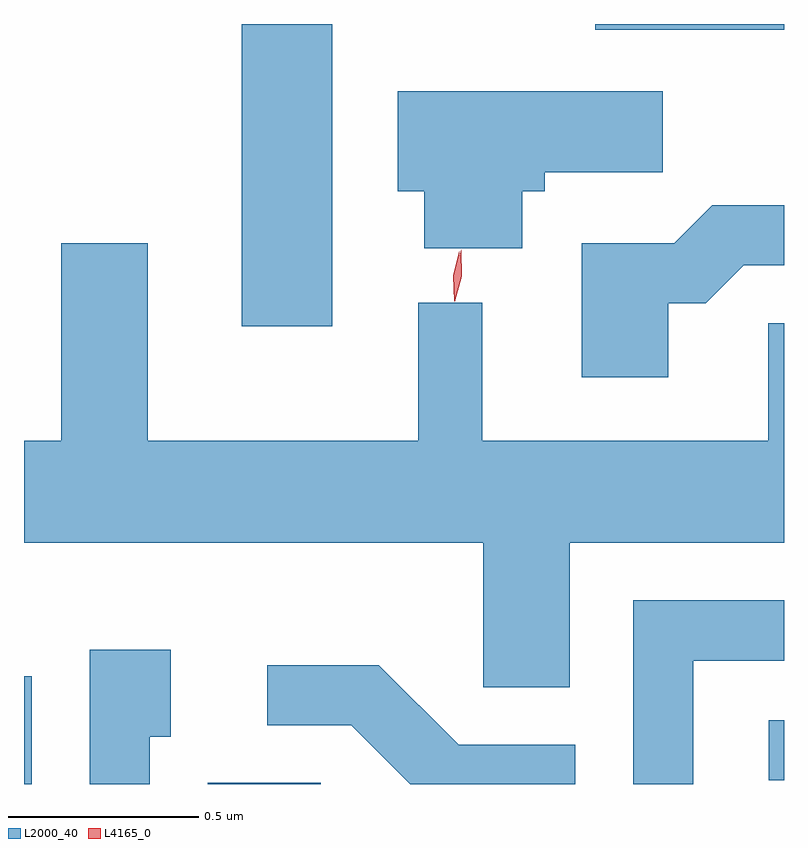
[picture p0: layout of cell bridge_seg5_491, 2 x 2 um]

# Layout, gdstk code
import gdstk
lib = gdstk.Library(unit=1e-6, precision=1e-09)
def R(c, l, rs):  # rectangles x0, y0, x1, y1
    for r in rs: c.add(gdstk.rectangle(r[:2], r[2:], *l))
def P(c, l, *ps):  # polygons
    for p in ps: c.add(gdstk.Polygon(p, *l))
L2000_40 = (2000, 40)
L4165_0 = (4165, 0)

bridge_seg5_491 = lib.new_cell('bridge_seg5_491')
R(bridge_seg5_491, L2000_40, [(546.203,1445.061,546.224,1445.344), (546.686,1445.061,546.984,1445.064), (548.163,1445.071,548.203,1445.229), (546.776,1446.266,547.014,1447.061), (547.706,1447.046,548.203,1447.061)])
P(bridge_seg5_491, L2000_40, [(547.514,1446.621),(547.574,1446.621),(547.574,1446.671),(547.884,1446.671),(547.884,1446.884),(547.186,1446.884),(547.186,1446.621),(547.256,1446.621),(547.256,1446.471),(547.514,1446.471)],
  [(547.899,1446.326),(547.997,1446.326),(548.097,1446.426),(548.203,1446.426),(548.203,1446.584),(548.014,1446.584),(547.914,1446.484),(547.671,1446.484),(547.671,1446.131),(547.899,1446.131)],
  [(547.411,1445.316),(547.639,1445.316),(547.639,1445.696),(548.203,1445.696),(548.203,1446.274),(548.161,1446.274),(548.161,1445.964),(547.409,1445.964),(547.409,1446.328),(547.241,1446.328),(547.241,1445.964),(546.529,1445.964),(546.529,1446.484),(546.301,1446.484),(546.301,1445.964),(546.203,1445.964),(546.203,1445.696),(547.411,1445.696)],
  [(547.964,1445.386),(548.203,1445.386),(548.203,1445.544),(547.806,1445.544),(547.806,1445.061),(547.964,1445.061)],
  [(546.534,1445.186),(546.589,1445.186),(546.589,1445.414),(546.376,1445.414),(546.376,1445.061),(546.534,1445.061)],
  [(547.654,1445.164),(547.347,1445.164),(547.137,1445.374),(546.843,1445.374),(546.843,1445.216),(547.064,1445.216),(547.219,1445.061),(547.654,1445.061)])
P(bridge_seg5_491, L4165_0, [(547.336,1446.33),(547.336,1446.33),(547.335,1446.399),(547.354,1446.466),(547.354,1446.467),(547.354,1446.466),(547.355,1446.397),(547.336,1446.33)],
  [(547.335,1446.333),(547.335,1446.333),(547.332,1446.399),(547.348,1446.463),(547.349,1446.463),(547.349,1446.463),(547.352,1446.397),(547.336,1446.333)])

lib.write_gds('bridge_seg5_491.gds')
